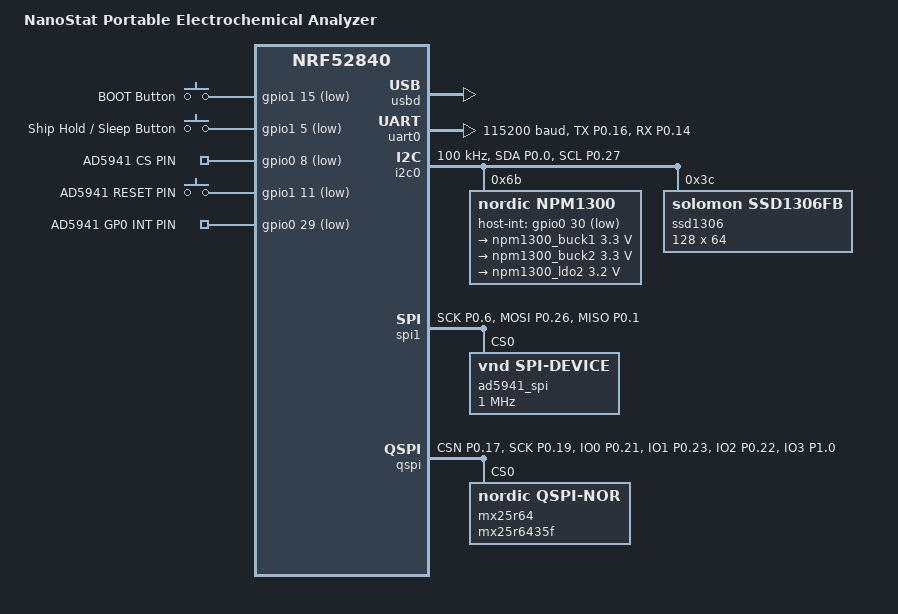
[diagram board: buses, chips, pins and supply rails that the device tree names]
/*
 * NanoStat (nRF52840-QIAA based) Device Tree
 * Designed for Portable Electrochemical Analysis
 */

/dts-v1/;
#include <nordic/nrf52840_qiaa.dtsi>
#include <zephyr/dt-bindings/gpio/gpio.h>
#include <zephyr/dt-bindings/i2c/i2c.h>
#include <zephyr/dt-bindings/regulator/npm1300.h>

#include "NanoStat-pinctrl.dtsi"

/ {
    model = "NanoStat Portable Electrochemical Analyzer";
    compatible = "Chengyu_Yang_Imperial_College_London,NanoStat";

    /* Core memory, display, and console bindings. */
    chosen {
        zephyr,sram = &sram0;
        zephyr,flash = &flash0;
        zephyr,code-partition = &slot0_partition;
        zephyr,display = &ssd1306;
        /* Route console, printk, and shell traffic through native USB CDC ACM. */
        zephyr,console = &cdc_acm_uart0;
        zephyr,shell-uart = &cdc_acm_uart0;
    };

    /* Standard aliases used by Zephyr drivers and application code. */
    aliases {
        uart-0 = &uart0;
        i2c-0 = &i2c0;
        spi-1 = &spi1;
        qspi-0 = &qspi;
        sw0 = &button_boot;
        sw3 = &button_ship_hold;
        afe-int = &ad5941_gp0_int;
    };

    /* GPIO button definitions. */
    buttons {
        compatible = "gpio-keys";

        button_boot: button_boot {
            gpios = <&gpio1 15 (GPIO_PULL_UP | GPIO_ACTIVE_LOW)>;
            label = "BOOT Button";
        };

        button_ship_hold: button_ship_hold {
            /* P1.05 maps to GPIO port 1, pin 5. */
            gpios = <&gpio1 5 (GPIO_ACTIVE_LOW | GPIO_PULL_UP)>;
            label = "Ship Hold / Sleep Button";
        };
    };

};

/* ================================================================= */
/* 0. Internal flash partition table                                  */
/* ================================================================= */
&flash0 {
    partitions {
        compatible = "fixed-partitions";
        #address-cells = <1>;
        #size-cells = <1>;

        boot_partition: partition@0 {
            label = "mcuboot";
            reg = <0x00000000 DT_SIZE_K(48)>;
        };

        slot0_partition: partition@c000 {
            label = "image-0";
            reg = <0x0000c000 DT_SIZE_K(472)>;
        };

        slot1_partition: partition@82000 {
            label = "image-1";
            reg = <0x00082000 DT_SIZE_K(472)>;
        };

        storage_partition: partition@f8000 {
            label = "storage";
            reg = <0x000f8000 DT_SIZE_K(32)>;
        };
    };
};

/* ================================================================= */
/* 1. Physical pin mappings                                            */
/* ================================================================= */
&pinctrl {
    /* UART pins. */
    uart0_default: uart0_default {
        group1 { psels = <NRF_PSEL(UART_TX, 0, 16)>, <NRF_PSEL(UART_RX, 0, 14)>; };
    };
    uart0_sleep: uart0_sleep {
        group1 { psels = <NRF_PSEL(UART_TX, 0, 16)>, <NRF_PSEL(UART_RX, 0, 14)>; low-power-enable; };
    };

    /* I2C0 pins for the nPM1300 and OLED. */
    i2c0_default: i2c0_default {
        group1 { psels = <NRF_PSEL(TWIM_SDA, 0, 0)>, <NRF_PSEL(TWIM_SCL, 0, 27)>; bias-pull-up; };
    };
    i2c0_sleep: i2c0_sleep {
        group1 { psels = <NRF_PSEL(TWIM_SDA, 0, 0)>, <NRF_PSEL(TWIM_SCL, 0, 27)>; low-power-enable; };
    };

    /* SPI1 pins for the AD5941. */
    spi1_default: spi1_default {
        group1 { psels = <NRF_PSEL(SPIM_SCK, 0, 6)>, <NRF_PSEL(SPIM_MOSI, 0, 26)>, <NRF_PSEL(SPIM_MISO, 0, 1)>; };
    };
    spi1_sleep: spi1_sleep {
        group1 { psels = <NRF_PSEL(SPIM_SCK, 0, 6)>, <NRF_PSEL(SPIM_MOSI, 0, 26)>, <NRF_PSEL(SPIM_MISO, 0, 1)>; low-power-enable; };
    };

    /* QSPI pins for external flash. */
    qspi_default: qspi_default {
        group1 { psels = <NRF_PSEL(QSPI_CSN, 0, 17)>, <NRF_PSEL(QSPI_SCK, 0, 19)>, <NRF_PSEL(QSPI_IO0, 0, 21)>, <NRF_PSEL(QSPI_IO1, 0, 23)>, <NRF_PSEL(QSPI_IO2, 0, 22)>, <NRF_PSEL(QSPI_IO3, 1, 0)>; };
    };
    qspi_sleep: qspi_sleep {
        group1 { psels = <NRF_PSEL(QSPI_CSN, 0, 17)>, <NRF_PSEL(QSPI_SCK, 0, 19)>, <NRF_PSEL(QSPI_IO0, 0, 21)>, <NRF_PSEL(QSPI_IO1, 0, 23)>, <NRF_PSEL(QSPI_IO2, 0, 22)>, <NRF_PSEL(QSPI_IO3, 1, 0)>; low-power-enable; };
    };
};

/* ================================================================= */
/* 2. Peripheral nodes                                                 */
/* ================================================================= */

/* Native USB. */
zephyr_udc0: &usbd {
    compatible = "nordic,nrf-usbd";
    status = "okay";

    cdc_acm_uart0: cdc_acm_uart0 {
        compatible = "zephyr,cdc-acm-uart";

    };
};

/* Debug UART. */
&uart0 {
    status = "okay";
    current-speed = <115200>;
    pinctrl-0 = <&uart0_default>;
    pinctrl-1 = <&uart0_sleep>;
    pinctrl-names = "default", "sleep";
};

/* I2C bus for the nPM1300 and OLED. */
&i2c0 {
    status = "okay";
    pinctrl-0 = <&i2c0_default>;
    pinctrl-1 = <&i2c0_sleep>;
    pinctrl-names = "default", "sleep";
    clock-frequency = <I2C_BITRATE_STANDARD>;

    npm1300: npm1300@6b {
        compatible = "nordic,npm1300";
        reg = <0x6b>;
        status = "okay";

        host-int-gpios = <&gpio0 30 GPIO_ACTIVE_LOW>;
        pmic-int-pin = <3>;
        ship-to-active-time-ms = <3008>;
        long-press-reset = "disabled";

        npm1300_gpio: gpio-controller {
            compatible = "nordic,npm1300-gpio";
            gpio-controller;
            #gpio-cells = <2>;
            ngpios = <5>;
        };

        npm1300_regulators: regulators {
            compatible = "nordic,npm1300-regulator";
            status = "okay";

            npm1300_buck1: BUCK1 {
                regulator-min-microvolt = <3300000>;
                regulator-max-microvolt = <3300000>;
                regulator-always-on;
                regulator-boot-on;
                regulator-initial-mode = <NPM1300_BUCK_MODE_AUTO>;

            };

            npm1300_buck2: BUCK2 {
                regulator-min-microvolt = <3300000>;
                regulator-max-microvolt = <3300000>;
                regulator-always-on;
                regulator-boot-on;
                regulator-initial-mode = <NPM1300_BUCK_MODE_PWM>;
            };

            npm1300_ldo1: LDO1 {
                regulator-initial-mode = <NPM1300_LDSW_MODE_LDSW>;
            };

            npm1300_ldo2: LDO2 {
                regulator-min-microvolt = <3200000>;
                regulator-max-microvolt = <3200000>;
                regulator-initial-mode = <NPM1300_LDSW_MODE_LDO>;
            };
        };

        npm1300_leds: leds {
            compatible = "nordic,npm1300-led";
            status = "okay";
            nordic,led0-mode = "host";
            nordic,led1-mode = "host";
            nordic,led2-mode = "host";
        };

        npm1300_charger: charger {
            compatible = "nordic,npm1300-charger";
            status = "okay";

            term-microvolt = <4150000>;
            current-microamp = <32000>;
            dischg-limit-microamp = <1000000>;
            vbus-limit-microamp = <500000>;

            thermistor-ohms = <10000>;
            thermistor-beta = <3988>;

            charging-enable;
        };
    };

    ssd1306: ssd1306@3c {
        compatible = "solomon,ssd1306fb";
        reg = <0x3c>;
        status = "okay";
        width = <128>;
        height = <64>;
        segment-offset = <0>;
        page-offset = <0>;
        display-offset = <0>;
        multiplex-ratio = <63>;
        segment-remap;
        com-invdir;
        com-sequential;
        prechargep = <0x22>;
    };
};

/* SPI bus for the AD5941. */
&spi1 {
    status = "okay";
    pinctrl-0 = <&spi1_default>;
    pinctrl-1 = <&spi1_sleep>;
    pinctrl-names = "default", "sleep";

    /* Chip select is controlled manually through ad5941_config below. */

    /* The label matches DT_NODELABEL(ad5941_spi) in the application. */
    ad5941_spi: ad5941@0 {
        compatible = "vnd,spi-device";
        reg = <0>;
        /* Bring-up uses 1 MHz; verify signal integrity before increasing it. */
        spi-max-frequency = <1000000>;
    };
};
/* ================================================================= */
/{
    /* Manually controlled AD5941 GPIO signals. */
    ad5941_config {
        compatible = "gpio-keys";

        ad5941_cs: ad5941_cs {
            /* Manual chip-select pin P0.08. */
            gpios = <&gpio0 8  GPIO_ACTIVE_LOW>;
            label = "AD5941 CS PIN";
        };

        ad5941_reset: ad5941_reset {
            /* Reset pin P1.11. */
            gpios = <&gpio1 11 GPIO_ACTIVE_LOW>;
            label = "AD5941 RESET PIN";
        };

        ad5941_gp0_int: ad5941_gp0_int {
            gpios = <&gpio0 29 (GPIO_ACTIVE_LOW | GPIO_PULL_UP)>;
            label = "AD5941 GP0 INT PIN";
        };
    };
};
/* QSPI bus for the external MX25R6435F flash. */
&qspi {
    status = "okay";
    pinctrl-0 = <&qspi_default>;
    pinctrl-1 = <&qspi_sleep>;
    pinctrl-names = "default", "sleep";
    mx25r64: mx25r6435f@0 {
        compatible = "nordic,qspi-nor";
        reg = <0>;
        writeoc = "pp4io";
        readoc = "read4io";
        sck-frequency = <8000000>;
        jedec-id = [c2 28 17];
        size = <67108864>;
        has-dpd;
    };
};

/* ================================================================= */
/* 3. Enable GPIO ports                                                */
/* ================================================================= */
&gpiote {
    status = "okay";
};

&gpio0 { status = "okay"; };
&gpio1 { status = "okay"; };
